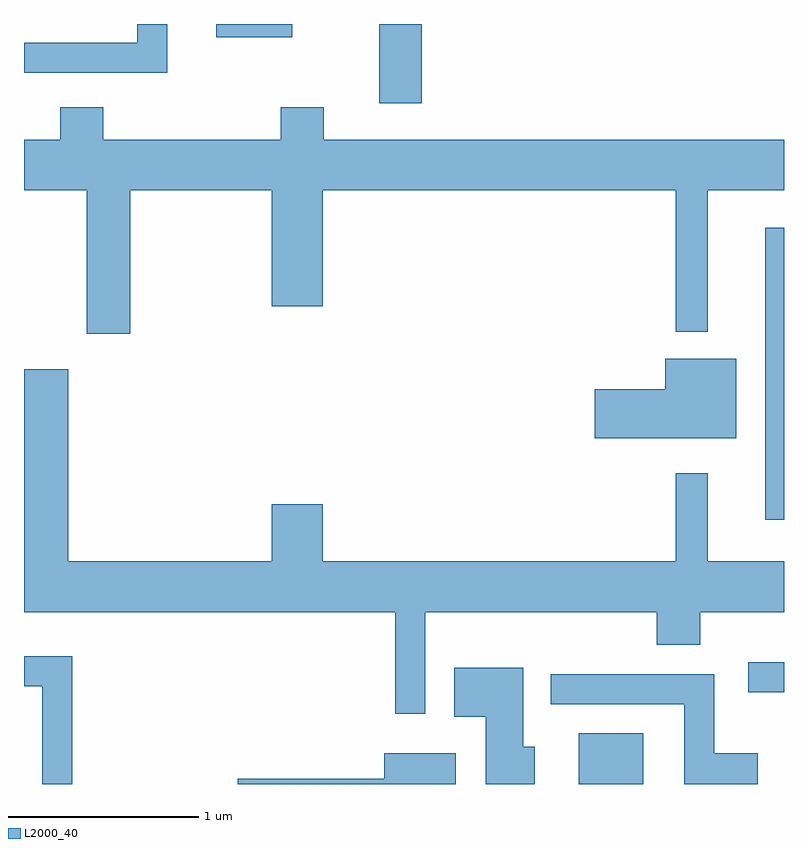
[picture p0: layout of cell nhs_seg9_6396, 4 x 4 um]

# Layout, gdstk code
import gdstk
lib = gdstk.Library(unit=1e-6, precision=1e-09)
def R(c, l, rs):  # rectangles x0, y0, x1, y1
    for r in rs: c.add(gdstk.rectangle(r[:2], r[2:], *l))
def P(c, l, *ps):  # polygons
    for p in ps: c.add(gdstk.Polygon(p, *l))
L2000_40 = (2000, 40)

nhs_seg9_6396 = lib.new_cell('nhs_seg9_6396')
R(nhs_seg9_6396, L2000_40, [(376.531,2026.432,376.869,2026.699), (377.423,2026.916,377.611,2027.074), (377.511,2027.823,377.611,2029.359), (375.481,2030.016,375.704,2030.432), (374.623,2030.361,375.024,2030.432)])
P(nhs_seg9_6396, L2000_40, [(374.364,2030.432),(374.206,2030.432),(374.206,2030.334),(373.611,2030.334),(373.611,2030.176),(374.364,2030.176)],
  [(374.169,2029.556),(374.916,2029.556),(374.916,2028.946),(375.184,2028.946),(375.184,2029.556),(377.041,2029.556),(377.041,2028.813),(377.209,2028.813),(377.209,2029.556),(377.611,2029.556),(377.611,2029.824),(375.189,2029.824),(375.189,2029.994),(374.961,2029.994),(374.961,2029.824),(374.029,2029.824),(374.029,2029.994),(373.801,2029.994),(373.801,2029.824),(373.611,2029.824),(373.611,2029.556),(373.941,2029.556),(373.941,2028.801),(374.169,2028.801)],
  [(377.359,2028.669),(376.986,2028.669),(376.986,2028.509),(376.616,2028.509),(376.616,2028.251),(377.359,2028.251)],
  [(375.724,2027.336),(376.941,2027.336),(376.941,2027.166),(377.169,2027.166),(377.169,2027.336),(377.611,2027.336),(377.611,2027.604),(377.209,2027.604),(377.209,2028.068),(377.041,2028.068),(377.041,2027.604),(375.184,2027.604),(375.184,2027.904),(374.916,2027.904),(374.916,2027.604),(373.844,2027.604),(373.844,2028.614),(373.611,2028.614),(373.611,2027.336),(375.566,2027.336),(375.566,2026.803),(375.724,2026.803)],
  [(373.864,2027.104),(373.611,2027.104),(373.611,2026.946),(373.706,2026.946),(373.706,2026.432),(373.864,2026.432)],
  [(376.299,2026.629),(376.239,2026.629),(376.239,2027.044),(375.876,2027.044),(375.876,2026.786),(376.041,2026.786),(376.041,2026.432),(376.299,2026.432)],
  [(377.474,2026.594),(377.244,2026.594),(377.244,2027.009),(376.383,2027.009),(376.383,2026.851),(377.086,2026.851),(377.086,2026.432),(377.474,2026.432)],
  [(375.884,2026.594),(375.506,2026.594),(375.506,2026.459),(374.736,2026.459),(374.736,2026.432),(375.884,2026.432)])

lib.write_gds('nhs_seg9_6396.gds')
